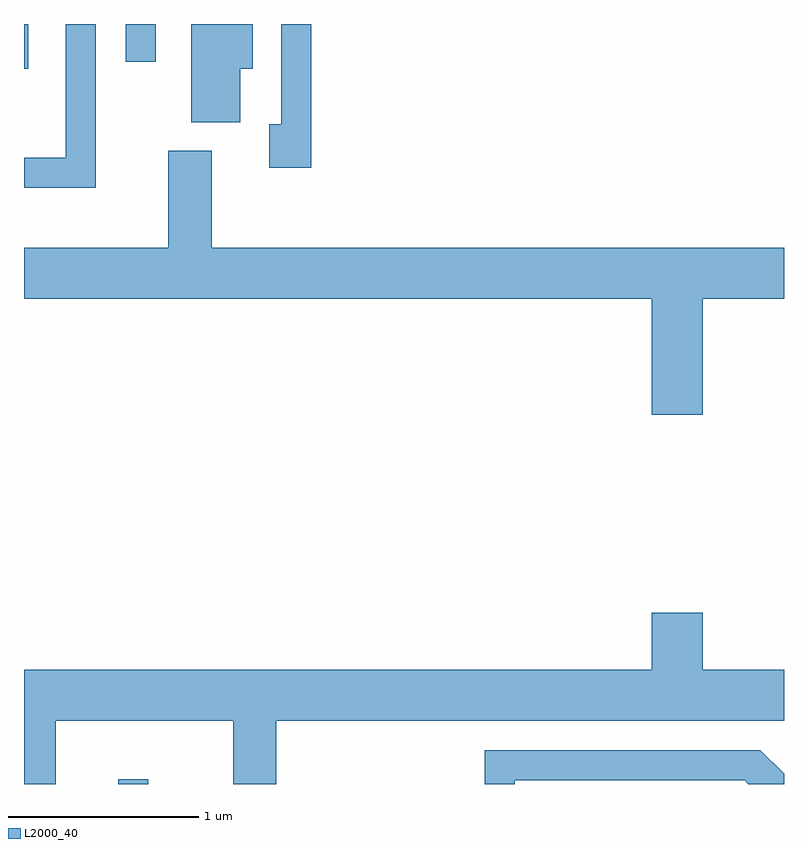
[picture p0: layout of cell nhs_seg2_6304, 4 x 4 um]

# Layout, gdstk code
import gdstk
lib = gdstk.Library(unit=1e-6, precision=1e-09)
def R(c, l, rs):  # rectangles x0, y0, x1, y1
    for r in rs: c.add(gdstk.rectangle(r[:2], r[2:], *l))
def P(c, l, *ps):  # polygons
    for p in ps: c.add(gdstk.Polygon(p, *l))
L2000_40 = (2000, 40)

nhs_seg2_6304 = lib.new_cell('nhs_seg2_6304')
R(nhs_seg2_6304, L2000_40, [(372.106,1005.802,372.264,1005.828), (371.611,1009.566,371.634,1009.802), (372.146,1009.603,372.304,1009.802)])
P(nhs_seg2_6304, L2000_40, [(371.989,1009.802),(371.831,1009.802),(371.831,1009.099),(371.611,1009.099),(371.611,1008.941),(371.989,1008.941)],
  [(372.749,1009.566),(372.814,1009.566),(372.814,1009.802),(372.491,1009.802),(372.491,1009.286),(372.749,1009.286)],
  [(373.124,1009.802),(372.966,1009.802),(372.966,1009.274),(372.901,1009.274),(372.901,1009.046),(373.124,1009.046)],
  [(375.184,1008.356),(375.611,1008.356),(375.611,1008.624),(372.599,1008.624),(372.599,1009.134),(372.371,1009.134),(372.371,1008.624),(371.611,1008.624),(371.611,1008.356),(374.916,1008.356),(374.916,1007.746),(375.184,1007.746)],
  [(371.779,1006.136),(372.711,1006.136),(372.711,1005.802),(372.939,1005.802),(372.939,1006.136),(375.611,1006.136),(375.611,1006.404),(375.184,1006.404),(375.184,1006.704),(374.916,1006.704),(374.916,1006.404),(371.611,1006.404),(371.611,1005.802),(371.779,1005.802)],
  [(374.194,1005.821),(375.404,1005.821),(375.423,1005.802),(375.611,1005.802),(375.611,1005.855),(375.487,1005.979),(374.036,1005.979),(374.036,1005.802),(374.194,1005.802)])

lib.write_gds('nhs_seg2_6304.gds')
